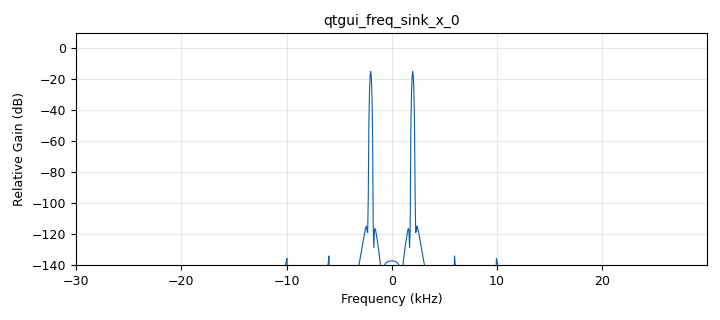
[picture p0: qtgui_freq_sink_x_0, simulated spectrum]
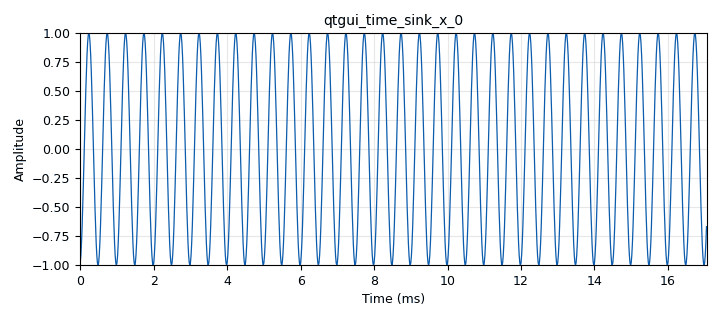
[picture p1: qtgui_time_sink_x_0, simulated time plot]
options:
  parameters:
    author: Barrios- Cogollo
    copyright: UIS
    description: Programa para comprender el funcionamiento de GNURADIO
    generate_options: qt_gui
    id: Practica1_Muestreo
    output_language: python
    title: Frecuencia de Muestreo
  states: {}

blocks:
- name: Freq
  id: variable_qtgui_range
  parameters:
    label: 'Frecuencia de la señal coseno '
    orient: Qt.Horizontal
    start: '1000'
    step: '1000'
    stop: '70000'
    value: '2000'
  states: {}
- name: samp_rate
  id: variable
  parameters:
    value: '60000'
  states: {}
- name: analog_sig_source_x_0
  id: analog_sig_source_x
  parameters:
    amp: '1'
    freq: Freq
    offset: '0'
    phase: '0'
    samp_rate: samp_rate
    type: float
    waveform: analog.GR_COS_WAVE
  states: {}
- name: blocks_throttle_0
  id: blocks_throttle
  parameters:
    samples_per_second: samp_rate
    type: float
  states: {}
- name: qtgui_freq_sink_x_0
  id: qtgui_freq_sink_x
  parameters:
    bw: samp_rate
    fc: '0'
    fftsize: '1024'
    type: float
    wintype: firdes.WIN_BLACKMAN_hARRIS
  states: {}
- name: qtgui_time_sink_x_0
  id: qtgui_time_sink_x
  parameters:
    size: '1024'
    srate: samp_rate
    type: float
  states: {}

connections:
- [analog_sig_source_x_0, '0', blocks_throttle_0, '0']
- [blocks_throttle_0, '0', qtgui_freq_sink_x_0, '0']
- [blocks_throttle_0, '0', qtgui_time_sink_x_0, '0']

metadata:
  file_format: 1
